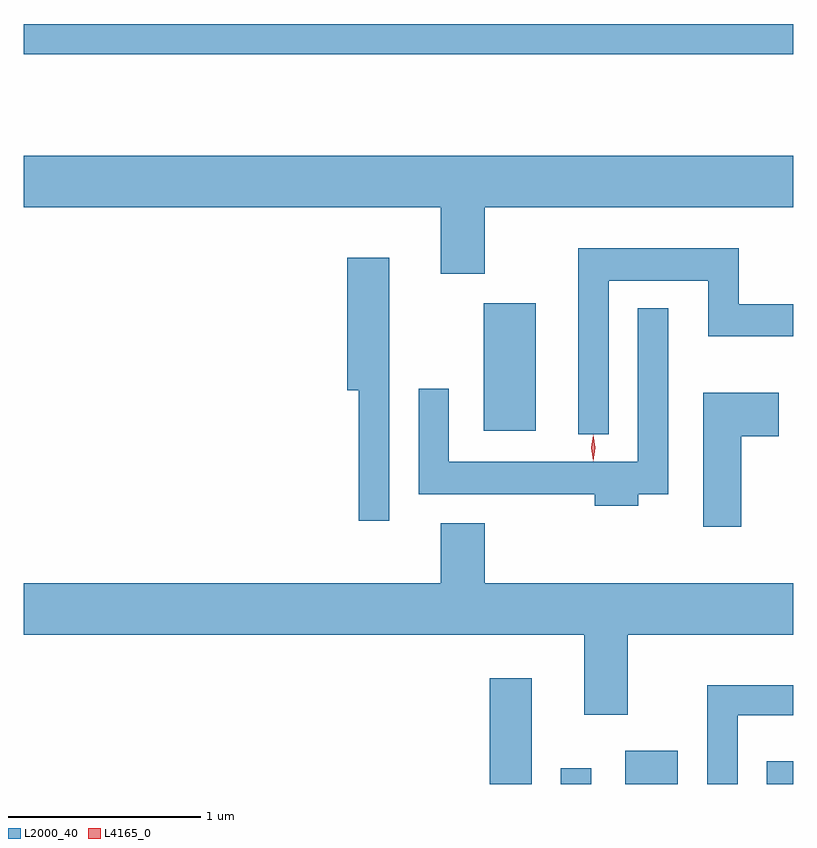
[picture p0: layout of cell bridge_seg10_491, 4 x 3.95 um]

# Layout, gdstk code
import gdstk
lib = gdstk.Library(unit=1e-6, precision=1e-09)
def R(c, l, rs):  # rectangles x0, y0, x1, y1
    for r in rs: c.add(gdstk.rectangle(r[:2], r[2:], *l))
def P(c, l, *ps):  # polygons
    for p in ps: c.add(gdstk.Polygon(p, *l))
L2000_40 = (2000, 40)
L4165_0 = (4165, 0)

bridge_seg10_491 = lib.new_cell('bridge_seg10_491')
R(bridge_seg10_491, L2000_40, [(867.976,2173.08,868.194,2173.629), (868.346,2173.08,868.504,2173.163), (868.681,2173.08,868.954,2173.254), (869.416,2173.08,869.554,2173.199), (867.946,2174.916,868.214,2175.579), (865.554,2176.871,869.554,2177.029)])
P(bridge_seg10_491, L2000_40, [(867.949,2176.076),(869.554,2176.076),(869.554,2176.344),(865.554,2176.344),(865.554,2176.076),(867.721,2176.076),(867.721,2175.731),(867.949,2175.731)],
  [(868.594,2175.696),(869.111,2175.696),(869.111,2175.406),(869.554,2175.406),(869.554,2175.574),(869.269,2175.574),(869.269,2175.864),(868.436,2175.864),(868.436,2174.898),(868.594,2174.898)],
  [(867.454,2175.814),(867.236,2175.814),(867.236,2175.126),(867.296,2175.126),(867.296,2174.448),(867.454,2174.448)],
  [(868.749,2174.586),(868.904,2174.586),(868.904,2175.553),(868.746,2175.553),(868.746,2174.754),(867.764,2174.754),(867.764,2175.133),(867.606,2175.133),(867.606,2174.586),(868.521,2174.586),(868.521,2174.526),(868.749,2174.526)],
  [(869.284,2174.886),(869.479,2174.886),(869.479,2175.114),(869.086,2175.114),(869.086,2174.416),(869.284,2174.416)],
  [(868.694,2173.856),(869.554,2173.856),(869.554,2174.124),(867.949,2174.124),(867.949,2174.434),(867.721,2174.434),(867.721,2174.124),(865.554,2174.124),(865.554,2173.856),(868.466,2173.856),(868.466,2173.441),(868.694,2173.441)],
  [(869.264,2173.436),(869.554,2173.436),(869.554,2173.594),(869.106,2173.594),(869.106,2173.08),(869.264,2173.08)])
P(bridge_seg10_491, L4165_0, [(868.514,2174.757),(868.505,2174.826),(868.514,2174.896),(868.515,2174.896),(868.515,2174.896),(868.525,2174.826),(868.515,2174.757),(868.515,2174.757)],
  [(868.514,2174.759),(868.514,2174.76),(868.504,2174.826),(868.514,2174.892),(868.514,2174.893),(868.515,2174.892),(868.524,2174.826),(868.515,2174.76)])

lib.write_gds('bridge_seg10_491.gds')
